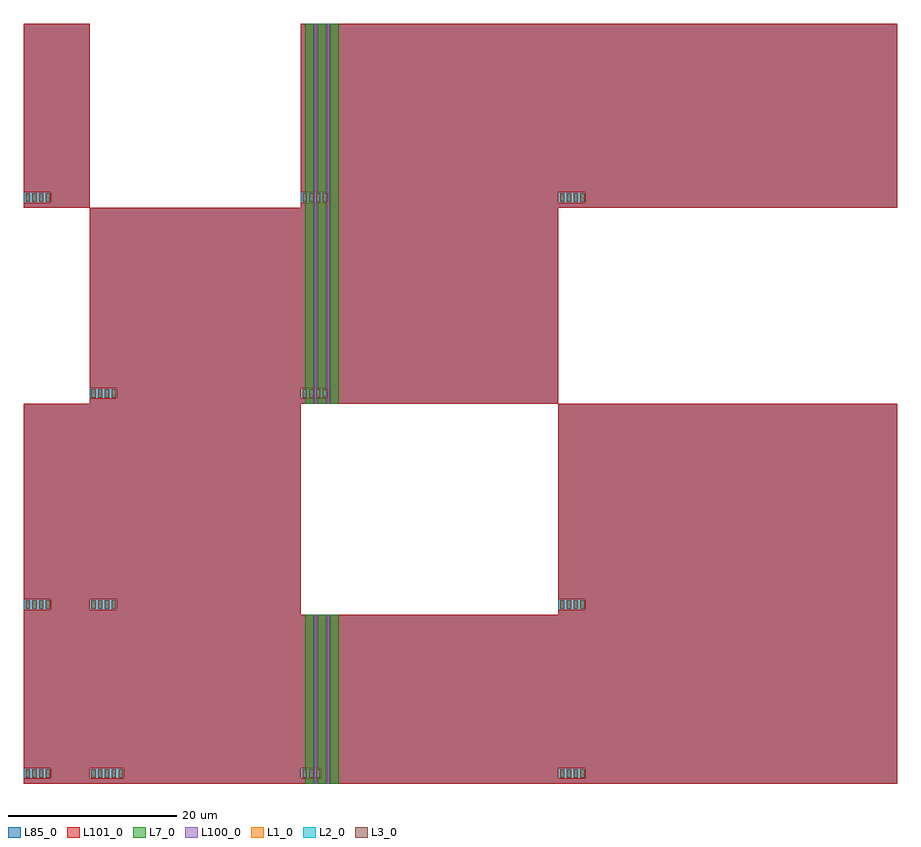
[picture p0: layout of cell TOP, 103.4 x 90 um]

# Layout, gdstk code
import gdstk
lib = gdstk.Library(unit=1e-6, precision=1e-09)
def R(c, l, rs):  # rectangles x0, y0, x1, y1
    for r in rs: c.add(gdstk.rectangle(r[:2], r[2:], *l))
def A(c, l, x, y, w, h, nx, ny, dx, dy):  # array of equal rectangles
    R(c, l, [(x+i*dx, y+j*dy, x+i*dx+w, y+j*dy+h) for i in range(nx) for j in range(ny)])
L1_0 = (1, 0)
L2_0 = (2, 0)
L3_0 = (3, 0)
L7_0 = (7, 0)
L85_0 = (85, 0)
L100_0 = (100, 0)
L101_0 = (101, 0)

des11 = lib.new_cell('Des11')
A(des11, L1_0, 0.2, 0.7, 0.5, 1, 4, 1, 0.8, 0)
A(des11, L2_0, 0.2, 0.7, 0.5, 1, 4, 1, 0.8, 0)
A(des11, L3_0, 0.2, 0.7, 0.5, 1, 4, 1, 0.8, 0)
R(des11, L85_0, [(0,0,7.8,20)])
R(des11, L101_0, [(0,0,7.8,0.6), (3.2,0.6,7.8,1.8), (0,1.8,7.8,20)])
des11.add(gdstk.Label('s1', (0.205,0.705), layer=1, texttype=1))
des11.add(gdstk.Label('s1', (1.005,0.705), layer=1, texttype=1))
des11.add(gdstk.Label('s1', (1.805,0.705), layer=1, texttype=1))
des11.add(gdstk.Label('s1', (2.605,0.705), layer=1, texttype=1))
des11.add(gdstk.Label('s1', (0.205,0.705), layer=2, texttype=1))
des11.add(gdstk.Label('s1', (1.005,0.705), layer=2, texttype=1))
des11.add(gdstk.Label('s1', (1.805,0.705), layer=2, texttype=1))
des11.add(gdstk.Label('s1', (2.605,0.705), layer=2, texttype=1))
des11.add(gdstk.Label('s1', (0.205,0.705), layer=3, texttype=1))
des11.add(gdstk.Label('s1', (1.005,0.705), layer=3, texttype=1))
des11.add(gdstk.Label('s1', (1.805,0.705), layer=3, texttype=1))
des11.add(gdstk.Label('s1', (2.605,0.705), layer=3, texttype=1))

des12 = lib.new_cell('Des12')
A(des12, L1_0, 0.2, 0.7, 0.5, 1, 5, 1, 0.8, 0)
A(des12, L2_0, 0.2, 0.7, 0.5, 1, 5, 1, 0.8, 0)
A(des12, L3_0, 0.2, 0.7, 0.5, 1, 5, 1, 0.8, 0)
R(des12, L85_0, [(0,0,25,20)])
R(des12, L101_0, [(0,0,25,0.6), (4,0.6,25,1.8), (0,1.8,25,20)])
des12.add(gdstk.Label('s2', (0.205,0.705), layer=1, texttype=1))
des12.add(gdstk.Label('s2', (1.005,0.705), layer=1, texttype=1))
des12.add(gdstk.Label('s2', (1.805,0.705), layer=1, texttype=1))
des12.add(gdstk.Label('s2', (2.605,0.705), layer=1, texttype=1))
des12.add(gdstk.Label('s2', (3.405,0.705), layer=1, texttype=1))
des12.add(gdstk.Label('s2', (0.205,0.705), layer=2, texttype=1))
des12.add(gdstk.Label('s2', (1.005,0.705), layer=2, texttype=1))
des12.add(gdstk.Label('s2', (1.805,0.705), layer=2, texttype=1))
des12.add(gdstk.Label('s2', (2.605,0.705), layer=2, texttype=1))
des12.add(gdstk.Label('s2', (3.405,0.705), layer=2, texttype=1))
des12.add(gdstk.Label('s2', (0.205,0.705), layer=3, texttype=1))
des12.add(gdstk.Label('s2', (1.005,0.705), layer=3, texttype=1))
des12.add(gdstk.Label('s2', (1.805,0.705), layer=3, texttype=1))
des12.add(gdstk.Label('s2', (2.605,0.705), layer=3, texttype=1))
des12.add(gdstk.Label('s2', (3.405,0.705), layer=3, texttype=1))

des13 = lib.new_cell('Des13')
A(des13, L1_0, 0.2, 0.7, 0.5, 1, 3, 1, 0.8, 0)
A(des13, L2_0, 0.2, 0.7, 0.5, 1, 3, 1, 0.8, 0)
A(des13, L3_0, 0.2, 0.7, 0.5, 1, 3, 1, 0.8, 0)
A(des13, L7_0, 0.5, 0, 1, 20, 3, 1, 1.5, 0)
R(des13, L85_0, [(0,0,30.5,20)])
R(des13, L100_0, [(1.6,0,1.9,20), (3.1,0,3.4,20)])
R(des13, L101_0, [(0,0,30.5,0.6), (2.4,0.6,30.5,1.8), (0,1.8,30.5,20)])
des13.add(gdstk.Label('Vdd', (0.505,0.005), layer=7, texttype=1))
des13.add(gdstk.Label('Vdd', (2.005,0.005), layer=7, texttype=1))
des13.add(gdstk.Label('Vdd', (3.505,0.005), layer=7, texttype=1))
des13.add(gdstk.Label('s3', (0.205,0.705), layer=1, texttype=1))
des13.add(gdstk.Label('s3', (1.005,0.705), layer=1, texttype=1))
des13.add(gdstk.Label('s3', (1.805,0.705), layer=1, texttype=1))
des13.add(gdstk.Label('s3', (0.205,0.705), layer=2, texttype=1))
des13.add(gdstk.Label('s3', (1.005,0.705), layer=2, texttype=1))
des13.add(gdstk.Label('s3', (1.805,0.705), layer=2, texttype=1))
des13.add(gdstk.Label('s3', (0.205,0.705), layer=3, texttype=1))
des13.add(gdstk.Label('s3', (1.005,0.705), layer=3, texttype=1))
des13.add(gdstk.Label('s3', (1.805,0.705), layer=3, texttype=1))

des14 = lib.new_cell('Des14')
A(des14, L1_0, 0.2, 0.7, 0.5, 1, 4, 1, 0.8, 0)
A(des14, L2_0, 0.2, 0.7, 0.5, 1, 4, 1, 0.8, 0)
A(des14, L3_0, 0.2, 0.7, 0.5, 1, 4, 1, 0.8, 0)
R(des14, L85_0, [(0,0,40.1,20)])
R(des14, L101_0, [(0,0,40.1,0.6), (3.2,0.6,40.1,1.8), (0,1.8,40.1,20)])
des14.add(gdstk.Label('s4', (0.205,0.705), layer=1, texttype=1))
des14.add(gdstk.Label('s4', (1.005,0.705), layer=1, texttype=1))
des14.add(gdstk.Label('s4', (1.805,0.705), layer=1, texttype=1))
des14.add(gdstk.Label('s4', (2.605,0.705), layer=1, texttype=1))
des14.add(gdstk.Label('s4', (0.205,0.705), layer=2, texttype=1))
des14.add(gdstk.Label('s4', (1.005,0.705), layer=2, texttype=1))
des14.add(gdstk.Label('s4', (1.805,0.705), layer=2, texttype=1))
des14.add(gdstk.Label('s4', (2.605,0.705), layer=2, texttype=1))
des14.add(gdstk.Label('s4', (0.205,0.705), layer=3, texttype=1))
des14.add(gdstk.Label('s4', (1.005,0.705), layer=3, texttype=1))
des14.add(gdstk.Label('s4', (1.805,0.705), layer=3, texttype=1))
des14.add(gdstk.Label('s4', (2.605,0.705), layer=3, texttype=1))

des21 = lib.new_cell('Des21')
A(des21, L1_0, 0.2, 0.7, 0.5, 1, 4, 1, 0.8, 0)
A(des21, L2_0, 0.2, 0.7, 0.5, 1, 4, 1, 0.8, 0)
A(des21, L3_0, 0.2, 0.7, 0.5, 1, 4, 1, 0.8, 0)
R(des21, L85_0, [(0,0,7.8,25)])
R(des21, L101_0, [(0,0,7.8,0.6), (3.2,0.6,7.8,1.8), (0,1.8,7.8,25)])
des21.add(gdstk.Label('s5', (0.205,0.705), layer=1, texttype=1))
des21.add(gdstk.Label('s5', (1.005,0.705), layer=1, texttype=1))
des21.add(gdstk.Label('s5', (1.805,0.705), layer=1, texttype=1))
des21.add(gdstk.Label('s5', (2.605,0.705), layer=1, texttype=1))
des21.add(gdstk.Label('s5', (0.205,0.705), layer=2, texttype=1))
des21.add(gdstk.Label('s5', (1.005,0.705), layer=2, texttype=1))
des21.add(gdstk.Label('s5', (1.805,0.705), layer=2, texttype=1))
des21.add(gdstk.Label('s5', (2.605,0.705), layer=2, texttype=1))
des21.add(gdstk.Label('s5', (0.205,0.705), layer=3, texttype=1))
des21.add(gdstk.Label('s5', (1.005,0.705), layer=3, texttype=1))
des21.add(gdstk.Label('s5', (1.805,0.705), layer=3, texttype=1))
des21.add(gdstk.Label('s5', (2.605,0.705), layer=3, texttype=1))

des22 = lib.new_cell('Des22')
A(des22, L1_0, 0.2, 0.7, 0.5, 1, 4, 1, 0.8, 0)
A(des22, L2_0, 0.2, 0.7, 0.5, 1, 4, 1, 0.8, 0)
A(des22, L3_0, 0.2, 0.7, 0.5, 1, 4, 1, 0.8, 0)
R(des22, L85_0, [(0,0,25,25)])
R(des22, L101_0, [(0,0,25,0.6), (3.2,0.6,25,1.8), (0,1.8,25,25)])
des22.add(gdstk.Label('s6', (0.205,0.705), layer=1, texttype=1))
des22.add(gdstk.Label('s6', (1.005,0.705), layer=1, texttype=1))
des22.add(gdstk.Label('s6', (1.805,0.705), layer=1, texttype=1))
des22.add(gdstk.Label('s6', (2.605,0.705), layer=1, texttype=1))
des22.add(gdstk.Label('s6', (0.205,0.705), layer=2, texttype=1))
des22.add(gdstk.Label('s6', (1.005,0.705), layer=2, texttype=1))
des22.add(gdstk.Label('s6', (1.805,0.705), layer=2, texttype=1))
des22.add(gdstk.Label('s6', (2.605,0.705), layer=2, texttype=1))
des22.add(gdstk.Label('s6', (0.205,0.705), layer=3, texttype=1))
des22.add(gdstk.Label('s6', (1.005,0.705), layer=3, texttype=1))
des22.add(gdstk.Label('s6', (1.805,0.705), layer=3, texttype=1))
des22.add(gdstk.Label('s6', (2.605,0.705), layer=3, texttype=1))

des24 = lib.new_cell('Des24')
A(des24, L1_0, 0.2, 0.7, 0.5, 1, 4, 1, 0.8, 0)
A(des24, L2_0, 0.2, 0.7, 0.5, 1, 4, 1, 0.8, 0)
A(des24, L3_0, 0.2, 0.7, 0.5, 1, 4, 1, 0.8, 0)
R(des24, L85_0, [(0,0,40.1,25)])
R(des24, L101_0, [(0,0,40.1,0.6), (3.2,0.6,40.1,1.8), (0,1.8,40.1,25)])
des24.add(gdstk.Label('s7', (0.205,0.705), layer=1, texttype=1))
des24.add(gdstk.Label('s7', (1.005,0.705), layer=1, texttype=1))
des24.add(gdstk.Label('s7', (1.805,0.705), layer=1, texttype=1))
des24.add(gdstk.Label('s7', (2.605,0.705), layer=1, texttype=1))
des24.add(gdstk.Label('s7', (0.205,0.705), layer=2, texttype=1))
des24.add(gdstk.Label('s7', (1.005,0.705), layer=2, texttype=1))
des24.add(gdstk.Label('s7', (1.805,0.705), layer=2, texttype=1))
des24.add(gdstk.Label('s7', (2.605,0.705), layer=2, texttype=1))
des24.add(gdstk.Label('s7', (0.205,0.705), layer=3, texttype=1))
des24.add(gdstk.Label('s7', (1.005,0.705), layer=3, texttype=1))
des24.add(gdstk.Label('s7', (1.805,0.705), layer=3, texttype=1))
des24.add(gdstk.Label('s7', (2.605,0.705), layer=3, texttype=1))

des32 = lib.new_cell('Des32')
A(des32, L1_0, 0.2, 0.7, 0.5, 1, 4, 1, 0.8, 0)
A(des32, L2_0, 0.2, 0.7, 0.5, 1, 4, 1, 0.8, 0)
A(des32, L3_0, 0.2, 0.7, 0.5, 1, 4, 1, 0.8, 0)
R(des32, L85_0, [(0,0,25,23.2)])
R(des32, L101_0, [(0,0,25,0.6), (3.2,0.6,25,1.8), (0,1.8,25,23.2)])
des32.add(gdstk.Label('s8', (0.205,0.705), layer=1, texttype=1))
des32.add(gdstk.Label('s8', (1.005,0.705), layer=1, texttype=1))
des32.add(gdstk.Label('s8', (1.805,0.705), layer=1, texttype=1))
des32.add(gdstk.Label('s8', (2.605,0.705), layer=1, texttype=1))
des32.add(gdstk.Label('s8', (0.205,0.705), layer=2, texttype=1))
des32.add(gdstk.Label('s8', (1.005,0.705), layer=2, texttype=1))
des32.add(gdstk.Label('s8', (1.805,0.705), layer=2, texttype=1))
des32.add(gdstk.Label('s8', (2.605,0.705), layer=2, texttype=1))
des32.add(gdstk.Label('s8', (0.205,0.705), layer=3, texttype=1))
des32.add(gdstk.Label('s8', (1.005,0.705), layer=3, texttype=1))
des32.add(gdstk.Label('s8', (1.805,0.705), layer=3, texttype=1))
des32.add(gdstk.Label('s8', (2.605,0.705), layer=3, texttype=1))

des33 = lib.new_cell('Des33')
A(des33, L1_0, 0.2, 0.7, 0.5, 1, 4, 1, 0.8, 0)
A(des33, L2_0, 0.2, 0.7, 0.5, 1, 4, 1, 0.8, 0)
A(des33, L3_0, 0.2, 0.7, 0.5, 1, 4, 1, 0.8, 0)
A(des33, L7_0, 0.5, 0, 1, 23.2, 3, 1, 1.5, 0)
R(des33, L85_0, [(0,0,30.5,23.2)])
R(des33, L100_0, [(1.6,0,1.9,23.2), (3.1,0,3.4,23.2)])
R(des33, L101_0, [(0,0,30.5,0.6), (3.2,0.6,30.5,1.8), (0,1.8,30.5,23.2)])
des33.add(gdstk.Label('Vdd', (0.505,0.005), layer=7, texttype=1))
des33.add(gdstk.Label('Vdd', (2.005,0.005), layer=7, texttype=1))
des33.add(gdstk.Label('Vdd', (3.505,0.005), layer=7, texttype=1))
des33.add(gdstk.Label('s9', (0.205,0.705), layer=1, texttype=1))
des33.add(gdstk.Label('s9', (1.005,0.705), layer=1, texttype=1))
des33.add(gdstk.Label('s9', (1.805,0.705), layer=1, texttype=1))
des33.add(gdstk.Label('s9', (2.605,0.705), layer=1, texttype=1))
des33.add(gdstk.Label('s9', (0.205,0.705), layer=2, texttype=1))
des33.add(gdstk.Label('s9', (1.005,0.705), layer=2, texttype=1))
des33.add(gdstk.Label('s9', (1.805,0.705), layer=2, texttype=1))
des33.add(gdstk.Label('s9', (2.605,0.705), layer=2, texttype=1))
des33.add(gdstk.Label('s9', (0.205,0.705), layer=3, texttype=1))
des33.add(gdstk.Label('s9', (1.005,0.705), layer=3, texttype=1))
des33.add(gdstk.Label('s9', (1.805,0.705), layer=3, texttype=1))
des33.add(gdstk.Label('s9', (2.605,0.705), layer=3, texttype=1))

des41 = lib.new_cell('Des41')
A(des41, L1_0, 0.2, 0.7, 0.5, 1, 4, 1, 0.8, 0)
A(des41, L2_0, 0.2, 0.7, 0.5, 1, 4, 1, 0.8, 0)
A(des41, L3_0, 0.2, 0.7, 0.5, 1, 4, 1, 0.8, 0)
R(des41, L85_0, [(0,0,7.8,21.8)])
R(des41, L101_0, [(0,0,7.8,0.6), (3.2,0.6,7.8,1.8), (0,1.8,7.8,21.8)])
des41.add(gdstk.Label('s10', (0.205,0.705), layer=1, texttype=1))
des41.add(gdstk.Label('s10', (1.005,0.705), layer=1, texttype=1))
des41.add(gdstk.Label('s10', (1.805,0.705), layer=1, texttype=1))
des41.add(gdstk.Label('s10', (2.605,0.705), layer=1, texttype=1))
des41.add(gdstk.Label('s10', (0.205,0.705), layer=2, texttype=1))
des41.add(gdstk.Label('s10', (1.005,0.705), layer=2, texttype=1))
des41.add(gdstk.Label('s10', (1.805,0.705), layer=2, texttype=1))
des41.add(gdstk.Label('s10', (2.605,0.705), layer=2, texttype=1))
des41.add(gdstk.Label('s10', (0.205,0.705), layer=3, texttype=1))
des41.add(gdstk.Label('s10', (1.005,0.705), layer=3, texttype=1))
des41.add(gdstk.Label('s10', (1.805,0.705), layer=3, texttype=1))
des41.add(gdstk.Label('s10', (2.605,0.705), layer=3, texttype=1))

des43 = lib.new_cell('Des43')
A(des43, L1_0, 0.2, 0.7, 0.5, 1, 4, 1, 0.8, 0)
A(des43, L2_0, 0.2, 0.7, 0.5, 1, 4, 1, 0.8, 0)
A(des43, L3_0, 0.2, 0.7, 0.5, 1, 4, 1, 0.8, 0)
A(des43, L7_0, 0.5, 0, 1, 21.8, 3, 1, 1.5, 0)
R(des43, L85_0, [(0,0,30.5,21.8)])
R(des43, L100_0, [(1.6,0,1.9,21.8), (3.1,0,3.4,21.8)])
R(des43, L101_0, [(0,0,30.5,0.6), (3.2,0.6,30.5,1.8), (0,1.8,30.5,21.8)])
des43.add(gdstk.Label('Vdd', (0.505,0.005), layer=7, texttype=1))
des43.add(gdstk.Label('Vdd', (2.005,0.005), layer=7, texttype=1))
des43.add(gdstk.Label('Vdd', (3.505,0.005), layer=7, texttype=1))
des43.add(gdstk.Label('s11', (0.205,0.705), layer=1, texttype=1))
des43.add(gdstk.Label('s11', (1.005,0.705), layer=1, texttype=1))
des43.add(gdstk.Label('s11', (1.805,0.705), layer=1, texttype=1))
des43.add(gdstk.Label('s11', (2.605,0.705), layer=1, texttype=1))
des43.add(gdstk.Label('s11', (0.205,0.705), layer=2, texttype=1))
des43.add(gdstk.Label('s11', (1.005,0.705), layer=2, texttype=1))
des43.add(gdstk.Label('s11', (1.805,0.705), layer=2, texttype=1))
des43.add(gdstk.Label('s11', (2.605,0.705), layer=2, texttype=1))
des43.add(gdstk.Label('s11', (0.205,0.705), layer=3, texttype=1))
des43.add(gdstk.Label('s11', (1.005,0.705), layer=3, texttype=1))
des43.add(gdstk.Label('s11', (1.805,0.705), layer=3, texttype=1))
des43.add(gdstk.Label('s11', (2.605,0.705), layer=3, texttype=1))

des44 = lib.new_cell('Des44')
A(des44, L1_0, 0.2, 0.7, 0.5, 1, 4, 1, 0.8, 0)
A(des44, L2_0, 0.2, 0.7, 0.5, 1, 4, 1, 0.8, 0)
A(des44, L3_0, 0.2, 0.7, 0.5, 1, 4, 1, 0.8, 0)
R(des44, L85_0, [(0,0,40.1,21.8)])
R(des44, L101_0, [(0,0,40.1,0.6), (3.2,0.6,40.1,1.8), (0,1.8,40.1,21.8)])
des44.add(gdstk.Label('s12', (0.205,0.705), layer=1, texttype=1))
des44.add(gdstk.Label('s12', (1.005,0.705), layer=1, texttype=1))
des44.add(gdstk.Label('s12', (1.805,0.705), layer=1, texttype=1))
des44.add(gdstk.Label('s12', (2.605,0.705), layer=1, texttype=1))
des44.add(gdstk.Label('s12', (0.205,0.705), layer=2, texttype=1))
des44.add(gdstk.Label('s12', (1.005,0.705), layer=2, texttype=1))
des44.add(gdstk.Label('s12', (1.805,0.705), layer=2, texttype=1))
des44.add(gdstk.Label('s12', (2.605,0.705), layer=2, texttype=1))
des44.add(gdstk.Label('s12', (0.205,0.705), layer=3, texttype=1))
des44.add(gdstk.Label('s12', (1.005,0.705), layer=3, texttype=1))
des44.add(gdstk.Label('s12', (1.805,0.705), layer=3, texttype=1))
des44.add(gdstk.Label('s12', (2.605,0.705), layer=3, texttype=1))

top = lib.new_cell('TOP')
top.add(gdstk.Reference(des11, (0,0)))
top.add(gdstk.Reference(des12, (7.8,0)))
top.add(gdstk.Reference(des13, (32.8,0)))
top.add(gdstk.Reference(des14, (63.3,0)))
top.add(gdstk.Reference(des21, (0,20)))
top.add(gdstk.Reference(des22, (7.8,20)))
top.add(gdstk.Reference(des24, (63.3,20)))
top.add(gdstk.Reference(des32, (7.8,45)))
top.add(gdstk.Reference(des33, (32.8,45)))
top.add(gdstk.Reference(des41, (0,68.2)))
top.add(gdstk.Reference(des43, (32.8,68.2)))
top.add(gdstk.Reference(des44, (63.3,68.2)))

lib.write_gds('TOP.gds')
